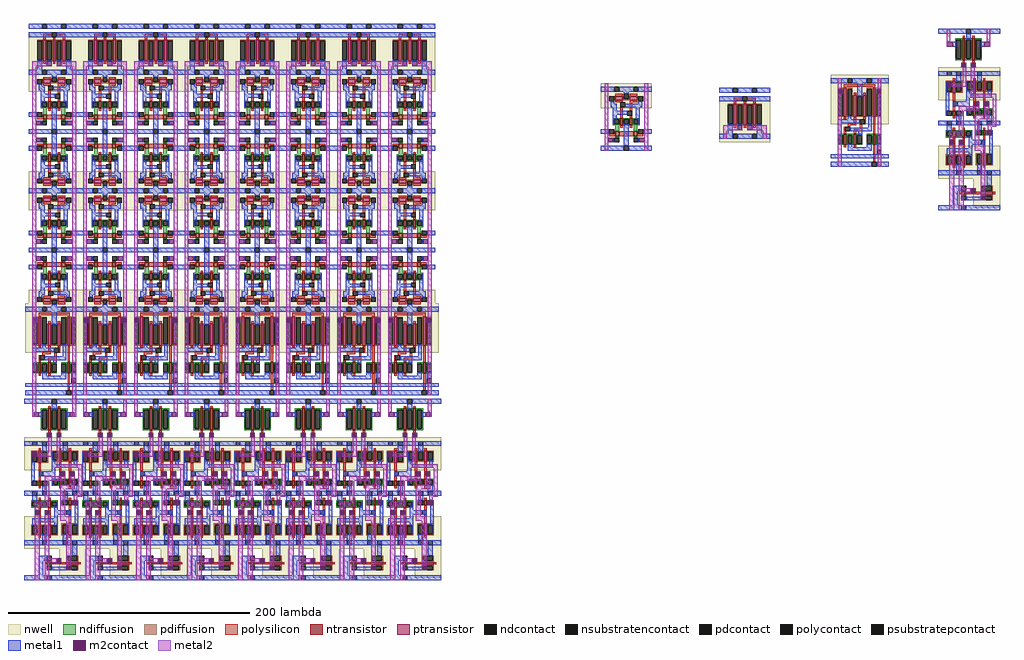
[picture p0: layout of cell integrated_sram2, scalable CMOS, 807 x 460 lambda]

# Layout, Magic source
magic
tech scmos
<< metal2 >>
rect 2 -182 5 14
rect 35 -182 38 14
use wd1  wd1_0 ~/lab/magic/sram/wd
transform 1 0 143 0 1 -97
box -148 -220 -97 -70
use wd1  wd1_1
transform 1 0 185 0 1 -97
box -148 -220 -97 -70
use wd1  wd1_2
transform 1 0 227 0 1 -97
box -148 -220 -97 -70
use wd1  wd1_3
transform 1 0 269 0 1 -97
box -148 -220 -97 -70
use wd1  wd1_4
transform 1 0 311 0 1 -97
box -148 -220 -97 -70
use wd1  wd1_5
transform 1 0 353 0 1 -97
box -148 -220 -97 -70
use wd1  wd1_6
transform 1 0 395 0 1 -97
box -148 -220 -97 -70
use wd1  wd1_7
transform 1 0 437 0 1 -97
box -148 -220 -97 -70
use 6T-cell1  6T-cell1_3 ~/lab/magic/sram/6T-cell
transform 1 0 232 0 1 -38
box -191 -8 -149 48
use 6T-cell1  6T-cell1_2
transform 1 0 232 0 -1 -50
box -191 -8 -149 48
use 6T-cell1  6T-cell1_0
transform 1 0 190 0 1 -38
box -191 -8 -149 48
use 6T-cell1  6T-cell1_1
transform 1 0 190 0 -1 -50
box -191 -8 -149 48
use sa2  sa2_0 ~/lab/magic/sram/sa
transform 1 0 -4 0 1 -99
box 0 -65 48 11
use sa2  sa2_1
transform 1 0 38 0 1 -99
box 0 -65 48 11
use 6T-cell1  6T-cell1_11
transform 1 0 274 0 1 -38
box -191 -8 -149 48
use 6T-cell1  6T-cell1_4
transform 1 0 274 0 -1 -50
box -191 -8 -149 48
use sa2  sa2_2
transform 1 0 80 0 1 -99
box 0 -65 48 11
use 6T-cell1  6T-cell1_12
transform 1 0 316 0 1 -38
box -191 -8 -149 48
use 6T-cell1  6T-cell1_5
transform 1 0 316 0 -1 -50
box -191 -8 -149 48
use sa2  sa2_3
transform 1 0 122 0 1 -99
box 0 -65 48 11
use 6T-cell1  6T-cell1_13
transform 1 0 358 0 1 -38
box -191 -8 -149 48
use 6T-cell1  6T-cell1_6
transform 1 0 358 0 -1 -50
box -191 -8 -149 48
use sa2  sa2_4
transform 1 0 164 0 1 -99
box 0 -65 48 11
use 6T-cell1  6T-cell1_14
transform 1 0 400 0 1 -38
box -191 -8 -149 48
use 6T-cell1  6T-cell1_7
transform 1 0 400 0 -1 -50
box -191 -8 -149 48
use sa2  sa2_5
transform 1 0 206 0 1 -99
box 0 -65 48 11
use 6T-cell1  6T-cell1_15
transform 1 0 442 0 1 -38
box -191 -8 -149 48
use 6T-cell1  6T-cell1_8
transform 1 0 442 0 -1 -50
box -191 -8 -149 48
use sa2  sa2_6
transform 1 0 248 0 1 -99
box 0 -65 48 11
use 6T-cell1  6T-cell1_10
transform 1 0 484 0 1 -38
box -191 -8 -149 48
use 6T-cell1  6T-cell1_9
transform 1 0 484 0 -1 -50
box -191 -8 -149 48
use sa2  sa2_7
transform 1 0 290 0 1 -99
box 0 -65 48 11
use pc1  pc1_0 ~/lab/magic/sram/pc
transform 1 0 298 0 1 155
box -257 -57 -215 -12
use pc1  pc1_1
transform 1 0 256 0 1 155
box -257 -57 -215 -12
use 6T-cell1  6T-cell1_25
transform 1 0 232 0 1 60
box -191 -8 -149 48
use 6T-cell1  6T-cell1_24
transform 1 0 190 0 1 60
box -191 -8 -149 48
use 6T-cell1  6T-cell1_17
transform 1 0 232 0 -1 48
box -191 -8 -149 48
use 6T-cell1  6T-cell1_16
transform 1 0 190 0 -1 48
box -191 -8 -149 48
use pc1  pc1_2
transform 1 0 340 0 1 155
box -257 -57 -215 -12
use 6T-cell1  6T-cell1_26
transform 1 0 274 0 1 60
box -191 -8 -149 48
use 6T-cell1  6T-cell1_18
transform 1 0 274 0 -1 48
box -191 -8 -149 48
use pc1  pc1_3
transform 1 0 382 0 1 155
box -257 -57 -215 -12
use 6T-cell1  6T-cell1_27
transform 1 0 316 0 1 60
box -191 -8 -149 48
use 6T-cell1  6T-cell1_19
transform 1 0 316 0 -1 48
box -191 -8 -149 48
use pc1  pc1_4
transform 1 0 424 0 1 155
box -257 -57 -215 -12
use 6T-cell1  6T-cell1_28
transform 1 0 358 0 1 60
box -191 -8 -149 48
use 6T-cell1  6T-cell1_20
transform 1 0 358 0 -1 48
box -191 -8 -149 48
use pc1  pc1_5
transform 1 0 466 0 1 155
box -257 -57 -215 -12
use 6T-cell1  6T-cell1_29
transform 1 0 400 0 1 60
box -191 -8 -149 48
use 6T-cell1  6T-cell1_21
transform 1 0 400 0 -1 48
box -191 -8 -149 48
use pc1  pc1_6
transform 1 0 508 0 1 155
box -257 -57 -215 -12
use 6T-cell1  6T-cell1_30
transform 1 0 442 0 1 60
box -191 -8 -149 48
use 6T-cell1  6T-cell1_22
transform 1 0 442 0 -1 48
box -191 -8 -149 48
use pc1  pc1_7
transform 1 0 550 0 1 155
box -257 -57 -215 -12
use 6T-cell1  6T-cell1_31
transform 1 0 484 0 1 60
box -191 -8 -149 48
use 6T-cell1  6T-cell1_23
transform 1 0 484 0 -1 48
box -191 -8 -149 48
use wd1  wd1_8
transform 1 0 899 0 1 209
box -148 -220 -97 -70
use sa2  sa2_8
transform 1 0 662 0 1 90
box 0 -65 48 11
use pc1  pc1_8
transform 1 0 827 0 1 102
box -257 -57 -215 -12
use 6T-cell1  6T-cell1_32
transform 1 0 663 0 1 46
box -191 -8 -149 48
<< end >>

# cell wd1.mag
magic
tech scmos
<< ntransistor >>
rect -128 -96 -126 -78
rect -120 -96 -118 -78
<< ndiffusion >>
rect -134 -79 -128 -78
rect -134 -95 -133 -79
rect -129 -95 -128 -79
rect -134 -96 -128 -95
rect -126 -79 -120 -78
rect -126 -95 -125 -79
rect -121 -95 -120 -79
rect -126 -96 -120 -95
rect -118 -79 -112 -78
rect -118 -95 -117 -79
rect -113 -95 -112 -79
rect -118 -96 -112 -95
<< ndcontact >>
rect -133 -95 -129 -79
rect -125 -95 -121 -79
rect -117 -95 -113 -79
<< psubstratepcontact >>
rect -125 -74 -121 -70
<< polysilicon >>
rect -128 -78 -126 -76
rect -120 -78 -118 -76
rect -128 -98 -126 -96
rect -120 -98 -118 -96
<< polycontact >>
rect -129 -102 -125 -98
rect -121 -102 -117 -98
<< metal1 >>
rect -148 -74 -125 -70
rect -121 -74 -97 -70
rect -125 -79 -121 -74
rect -136 -85 -133 -81
rect -113 -85 -110 -81
rect -148 -109 -97 -105
rect -136 -134 -122 -130
rect -148 -150 -97 -146
rect -123 -166 -109 -162
rect -148 -191 -97 -187
rect -148 -220 -97 -216
<< m2contact >>
rect -140 -85 -136 -81
rect -110 -85 -106 -81
rect -129 -102 -125 -98
rect -121 -102 -117 -98
rect -141 -118 -137 -114
rect -118 -134 -114 -130
rect -110 -134 -106 -130
rect -108 -158 -104 -154
rect -139 -166 -135 -162
rect -131 -166 -127 -162
rect -121 -206 -117 -202
rect -113 -212 -109 -208
<< metal2 >>
rect -141 -81 -138 -70
rect -108 -81 -105 -70
rect -141 -85 -140 -81
rect -106 -85 -105 -81
rect -128 -115 -125 -102
rect -137 -118 -125 -115
rect -121 -124 -118 -102
rect -121 -127 -100 -124
rect -131 -138 -114 -134
rect -131 -155 -127 -138
rect -110 -141 -106 -134
rect -139 -159 -127 -155
rect -118 -145 -106 -141
rect -139 -162 -135 -159
rect -139 -220 -135 -166
rect -131 -202 -127 -166
rect -118 -167 -114 -145
rect -103 -148 -100 -127
rect -107 -151 -100 -148
rect -107 -154 -104 -151
rect -118 -171 -109 -167
rect -131 -206 -121 -202
rect -131 -220 -127 -206
rect -113 -208 -109 -171
use nand  nand_1
transform -1 0 -114 0 1 -122
box -17 -28 17 20
use inv  inv_2
transform -1 0 -135 0 1 -125
box -13 -25 13 23
use nand  nand_2
transform 1 0 -131 0 -1 -174
box -17 -28 17 20
use inv  inv_1
transform 1 0 -110 0 -1 -171
box -13 -25 13 23
use inv1  inv1_0
transform 1 0 -88 0 1 -169
box -48 -51 -9 -15
<< labels >>
rlabel psubstratepcontact -123 -72 -123 -72 1 gnd
rlabel metal2 -140 -77 -140 -77 1 bl
rlabel metal2 -107 -77 -107 -77 1 blb
rlabel metal2 -137 -208 -137 -208 1 w_en
rlabel metal2 -129 -215 -129 -215 1 din
<< end >>

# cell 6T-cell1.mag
magic
tech scmos
<< nwell >>
rect -191 27 -149 48
<< ntransistor >>
rect -175 13 -173 19
rect -167 13 -165 19
rect -179 4 -176 8
rect -164 4 -161 8
<< ptransistor >>
rect -179 34 -173 37
rect -167 34 -161 37
<< ndiffusion >>
rect -181 18 -175 19
rect -181 14 -180 18
rect -176 14 -175 18
rect -181 13 -175 14
rect -173 18 -167 19
rect -173 14 -172 18
rect -168 14 -167 18
rect -173 13 -167 14
rect -165 18 -159 19
rect -165 14 -164 18
rect -160 14 -159 18
rect -165 13 -159 14
rect -179 8 -176 13
rect -164 8 -161 13
rect -179 3 -176 4
rect -164 3 -161 4
<< pdiffusion >>
rect -180 34 -179 37
rect -173 35 -172 37
rect -168 35 -167 37
rect -173 34 -167 35
rect -161 34 -160 37
<< ndcontact >>
rect -180 14 -176 18
rect -172 14 -168 18
rect -164 14 -160 18
rect -180 -1 -176 3
rect -164 -1 -160 3
<< pdcontact >>
rect -184 33 -180 37
rect -172 35 -168 39
rect -160 33 -156 37
<< psubstratepcontact >>
rect -172 -8 -168 -4
<< nsubstratencontact >>
rect -180 41 -176 45
rect -164 41 -160 45
<< polysilicon >>
rect -179 37 -173 39
rect -167 37 -161 39
rect -179 32 -173 34
rect -167 32 -161 34
rect -175 19 -173 28
rect -167 25 -165 32
rect -167 19 -165 21
rect -175 11 -173 13
rect -167 11 -165 13
rect -180 6 -179 8
rect -184 4 -179 6
rect -176 4 -164 8
rect -161 6 -160 8
rect -161 4 -156 6
<< polycontact >>
rect -175 28 -171 32
rect -169 21 -165 25
rect -184 6 -180 10
rect -160 6 -156 10
<< metal1 >>
rect -191 41 -180 45
rect -176 41 -164 45
rect -160 41 -149 45
rect -172 39 -168 41
rect -183 31 -180 33
rect -183 28 -178 31
rect -160 31 -157 33
rect -171 28 -157 31
rect -181 25 -178 28
rect -181 22 -169 25
rect -181 18 -178 22
rect -162 18 -159 28
rect -181 14 -180 18
rect -160 14 -159 18
rect -191 6 -184 10
rect -181 -1 -180 3
rect -172 -4 -168 14
rect -156 6 -149 10
rect -160 -1 -159 3
rect -191 -8 -172 -4
rect -168 -8 -149 -4
<< m2contact >>
rect -185 -1 -181 3
rect -159 -1 -155 3
<< metal2 >>
rect -188 -8 -185 48
rect -155 -8 -152 48
<< labels >>
rlabel metal1 -170 43 -170 43 5 vdd
rlabel psubstratepcontact -170 -6 -170 -6 1 gnd
rlabel metal1 -189 8 -189 8 3 wl
rlabel metal2 -187 20 -187 20 3 bl
rlabel metal2 -153 20 -153 20 7 blb
rlabel metal1 -179 23 -179 23 1 q1
rlabel metal1 -161 23 -161 23 1 q2
<< end >>

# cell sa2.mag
magic
tech scmos
<< nwell >>
rect 0 -30 48 11
<< ntransistor >>
rect 11 -47 13 -38
rect 19 -47 21 -38
rect 35 -47 37 -38
<< ptransistor >>
rect 11 -24 13 0
rect 19 -24 21 -6
rect 27 -24 29 -6
rect 35 -24 37 0
<< ndiffusion >>
rect 6 -39 11 -38
rect 10 -46 11 -39
rect 6 -47 11 -46
rect 13 -39 19 -38
rect 13 -46 14 -39
rect 18 -46 19 -39
rect 13 -47 19 -46
rect 21 -39 26 -38
rect 21 -46 22 -39
rect 21 -47 26 -46
rect 30 -39 35 -38
rect 34 -46 35 -39
rect 30 -47 35 -46
rect 37 -39 42 -38
rect 37 -46 38 -39
rect 37 -47 42 -46
<< pdiffusion >>
rect 6 -1 11 0
rect 10 -23 11 -1
rect 6 -24 11 -23
rect 13 -1 18 0
rect 13 -23 14 -1
rect 30 -1 35 0
rect 18 -23 19 -6
rect 13 -24 19 -23
rect 21 -7 27 -6
rect 21 -23 22 -7
rect 26 -23 27 -7
rect 21 -24 27 -23
rect 29 -23 30 -6
rect 34 -23 35 -1
rect 29 -24 35 -23
rect 37 -1 42 0
rect 37 -23 38 -1
rect 37 -24 42 -23
<< ndcontact >>
rect 6 -46 10 -39
rect 14 -46 18 -39
rect 22 -46 26 -39
rect 30 -46 34 -39
rect 38 -46 42 -39
<< pdcontact >>
rect 6 -23 10 -1
rect 14 -23 18 -1
rect 22 -23 26 -7
rect 30 -23 34 -1
rect 38 -23 42 -1
<< psubstratepcontact >>
rect 38 -55 42 -51
<< nsubstratencontact >>
rect 14 4 18 8
rect 30 4 34 8
<< polysilicon >>
rect 11 1 37 3
rect 11 0 13 1
rect 35 0 37 1
rect 19 -6 21 -4
rect 27 -6 29 -4
rect 11 -26 13 -24
rect 19 -29 21 -24
rect 27 -26 29 -24
rect 14 -31 21 -29
rect 28 -30 29 -26
rect 14 -32 16 -31
rect 11 -36 12 -32
rect 24 -34 26 -30
rect 19 -36 26 -34
rect 11 -38 13 -36
rect 19 -38 21 -36
rect 35 -38 37 -24
rect 11 -49 13 -47
rect 19 -49 21 -47
rect 35 -61 37 -47
<< polycontact >>
rect 24 -30 28 -26
rect 12 -36 16 -32
rect 34 -65 38 -61
<< metal1 >>
rect 0 4 14 8
rect 18 4 30 8
rect 34 4 48 8
rect 22 -7 26 4
rect 14 -26 17 -23
rect 6 -29 24 -26
rect 6 -39 9 -29
rect 31 -33 34 -23
rect 16 -36 34 -33
rect 23 -39 26 -36
rect 14 -49 18 -46
rect 30 -49 34 -46
rect 14 -52 34 -49
rect 38 -51 42 -46
rect 0 -58 48 -55
rect 0 -65 34 -61
rect 38 -65 48 -61
<< m2contact >>
rect 6 -5 10 -1
rect 38 -5 42 -1
<< metal2 >>
rect 6 -1 9 8
rect 39 -1 42 8
rect 6 -65 9 -5
rect 39 -65 42 -5
<< labels >>
rlabel metal2 41 -28 41 -28 7 blb
rlabel metal2 7 -28 7 -28 3 bl
rlabel metal1 24 -63 24 -63 1 r_en
rlabel metal1 23 -57 23 -57 1 gnd
rlabel metal1 16 -27 16 -27 1 sa
rlabel metal1 32 -34 32 -34 1 sab
rlabel metal1 24 6 24 6 5 vdd
<< end >>

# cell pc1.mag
magic
tech scmos
<< nwell >>
rect -257 -57 -215 -19
<< ptransistor >>
rect -245 -43 -243 -25
rect -237 -43 -235 -25
rect -229 -43 -227 -25
<< pdiffusion >>
rect -250 -26 -245 -25
rect -246 -42 -245 -26
rect -250 -43 -245 -42
rect -243 -26 -237 -25
rect -243 -42 -242 -26
rect -238 -42 -237 -26
rect -243 -43 -237 -42
rect -235 -26 -229 -25
rect -235 -42 -234 -26
rect -230 -42 -229 -26
rect -235 -43 -229 -42
rect -227 -26 -222 -25
rect -227 -42 -226 -26
rect -227 -43 -222 -42
<< pdcontact >>
rect -250 -42 -246 -26
rect -242 -42 -238 -26
rect -234 -42 -230 -26
rect -226 -42 -222 -26
<< psubstratepcontact >>
rect -246 -16 -242 -12
rect -230 -16 -226 -12
<< nsubstratencontact >>
rect -246 -54 -242 -50
rect -230 -54 -226 -50
<< polysilicon >>
rect -245 -22 -238 -20
rect -245 -25 -243 -22
rect -234 -22 -227 -20
rect -237 -25 -235 -23
rect -229 -25 -227 -22
rect -245 -45 -243 -43
rect -237 -45 -235 -43
rect -229 -45 -227 -43
<< polycontact >>
rect -238 -23 -234 -19
<< metal1 >>
rect -257 -16 -246 -12
rect -242 -16 -230 -12
rect -226 -16 -215 -12
rect -257 -23 -238 -19
rect -234 -23 -215 -19
rect -250 -50 -246 -42
rect -242 -43 -238 -42
rect -234 -43 -230 -42
rect -226 -50 -222 -42
rect -257 -54 -246 -50
rect -242 -54 -230 -50
rect -226 -54 -215 -50
<< m2contact >>
rect -242 -47 -238 -43
rect -234 -47 -230 -43
<< metal2 >>
rect -254 -47 -242 -43
rect -230 -47 -218 -43
rect -254 -54 -251 -47
rect -221 -54 -218 -47
<< labels >>
rlabel metal1 -236 -52 -236 -52 1 vdd
rlabel metal1 -236 -13 -236 -13 5 gnd
rlabel metal2 -253 -47 -253 -47 3 bl
rlabel metal2 -220 -47 -220 -47 1 blb
rlabel polycontact -236 -21 -236 -21 1 pc
<< end >>

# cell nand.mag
magic
tech scmos
<< nwell >>
rect -17 -7 17 20
<< ntransistor >>
rect -5 -20 -3 -14
rect 3 -20 5 -14
<< ptransistor >>
rect -5 0 -3 9
rect 3 0 5 9
<< ndiffusion >>
rect -11 -15 -5 -14
rect -11 -19 -10 -15
rect -6 -19 -5 -15
rect -11 -20 -5 -19
rect -3 -15 3 -14
rect -3 -19 -2 -15
rect 2 -19 3 -15
rect -3 -20 3 -19
rect 5 -15 11 -14
rect 5 -19 6 -15
rect 10 -19 11 -15
rect 5 -20 11 -19
<< pdiffusion >>
rect -11 8 -5 9
rect -11 1 -10 8
rect -6 1 -5 8
rect -11 0 -5 1
rect -3 8 3 9
rect -3 1 -2 8
rect 2 1 3 8
rect -3 0 3 1
rect 5 8 11 9
rect 5 1 6 8
rect 10 1 11 8
rect 5 0 11 1
<< ndcontact >>
rect -10 -19 -6 -15
rect -2 -19 2 -15
rect 6 -19 10 -15
<< pdcontact >>
rect -10 1 -6 8
rect -2 1 2 8
rect 6 1 10 8
<< psubstratepcontact >>
rect -2 -28 2 -24
<< nsubstratencontact >>
rect -2 13 2 17
<< polysilicon >>
rect -5 9 -3 11
rect 3 9 5 11
rect -5 -8 -3 0
rect 3 -8 5 0
rect -4 -12 -3 -8
rect 4 -12 5 -8
rect -5 -14 -3 -12
rect 3 -14 5 -12
rect -5 -22 -3 -20
rect 3 -22 5 -20
<< polycontact >>
rect -8 -12 -4 -8
rect 0 -12 4 -8
<< metal1 >>
rect -11 13 -2 17
rect 2 13 11 17
rect -2 8 2 13
rect 10 1 11 8
rect -10 -2 -7 1
rect 8 -2 11 1
rect -10 -5 11 -2
rect 8 -15 11 -5
rect 10 -19 11 -15
rect -10 -24 -6 -19
rect -11 -28 -2 -24
rect 2 -28 11 -24
<< labels >>
rlabel metal1 -8 -26 -8 -26 1 gnd
rlabel metal1 10 -5 10 -5 1 y
rlabel metal1 -8 15 -8 15 5 vdd
rlabel polycontact -6 -10 -6 -10 1 a
rlabel polycontact 2 -10 2 -10 1 b
<< end >>

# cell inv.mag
magic
tech scmos
<< nwell >>
rect -13 -4 13 23
<< ntransistor >>
rect -1 -17 1 -13
<< ptransistor >>
rect -1 2 1 12
<< ndiffusion >>
rect -7 -17 -6 -13
rect -2 -17 -1 -13
rect 1 -17 2 -13
rect 6 -17 7 -13
<< pdiffusion >>
rect -7 11 -1 12
rect -7 3 -6 11
rect -2 3 -1 11
rect -7 2 -1 3
rect 1 11 7 12
rect 1 3 2 11
rect 6 3 7 11
rect 1 2 7 3
<< ndcontact >>
rect -6 -17 -2 -13
rect 2 -17 6 -13
<< pdcontact >>
rect -6 3 -2 11
rect 2 3 6 11
<< psubstratepcontact >>
rect -6 -25 -2 -21
rect 2 -25 6 -21
<< nsubstratencontact >>
rect -6 16 -2 20
rect 2 16 6 20
<< polysilicon >>
rect -1 12 1 14
rect -1 -5 1 2
rect -1 -13 1 -9
rect -1 -19 1 -17
<< polycontact >>
rect -3 -9 1 -5
<< metal1 >>
rect -7 16 -6 20
rect -2 16 2 20
rect 6 16 7 20
rect -6 11 -2 16
rect 6 3 7 11
rect 4 -13 7 3
rect 6 -17 7 -13
rect -6 -21 -2 -17
rect -7 -25 -6 -21
rect -2 -25 2 -21
rect 6 -25 7 -21
<< labels >>
rlabel metal1 0 18 0 18 5 vdd
rlabel metal1 0 -23 0 -23 1 gnd
rlabel metal1 5 -8 5 -8 1 out
rlabel polycontact -1 -7 -1 -7 1 in
<< end >>

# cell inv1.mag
magic
tech scmos
<< nwell >>
rect -31 -49 -9 -15
<< ntransistor >>
rect -41 -38 -37 -36
<< ptransistor >>
rect -25 -38 -15 -36
<< ndiffusion >>
rect -41 -36 -37 -35
rect -41 -39 -37 -38
<< pdiffusion >>
rect -25 -35 -24 -31
rect -16 -35 -15 -31
rect -25 -36 -15 -35
rect -25 -39 -15 -38
rect -25 -43 -24 -39
rect -16 -43 -15 -39
<< ndcontact >>
rect -41 -35 -37 -31
rect -41 -43 -37 -39
<< pdcontact >>
rect -24 -35 -16 -31
rect -24 -43 -16 -39
<< psubstratepcontact >>
rect -41 -51 -37 -47
<< nsubstratencontact >>
rect -20 -22 -16 -18
<< polysilicon >>
rect -43 -38 -41 -36
rect -37 -37 -33 -36
rect -29 -37 -25 -36
rect -37 -38 -25 -37
rect -15 -38 -13 -36
<< polycontact >>
rect -33 -37 -29 -33
<< metal1 >>
rect -20 -31 -16 -22
rect -48 -35 -41 -31
rect -48 -47 -44 -35
rect -37 -43 -24 -40
rect -48 -51 -41 -47
<< labels >>
rlabel metal1 -18 -29 -18 -29 7 vdd
rlabel metal1 -32 -41 -32 -41 3 out
rlabel polycontact -31 -35 -31 -35 3 in
rlabel metal1 -46 -49 -46 -49 1 gnd
<< end >>
